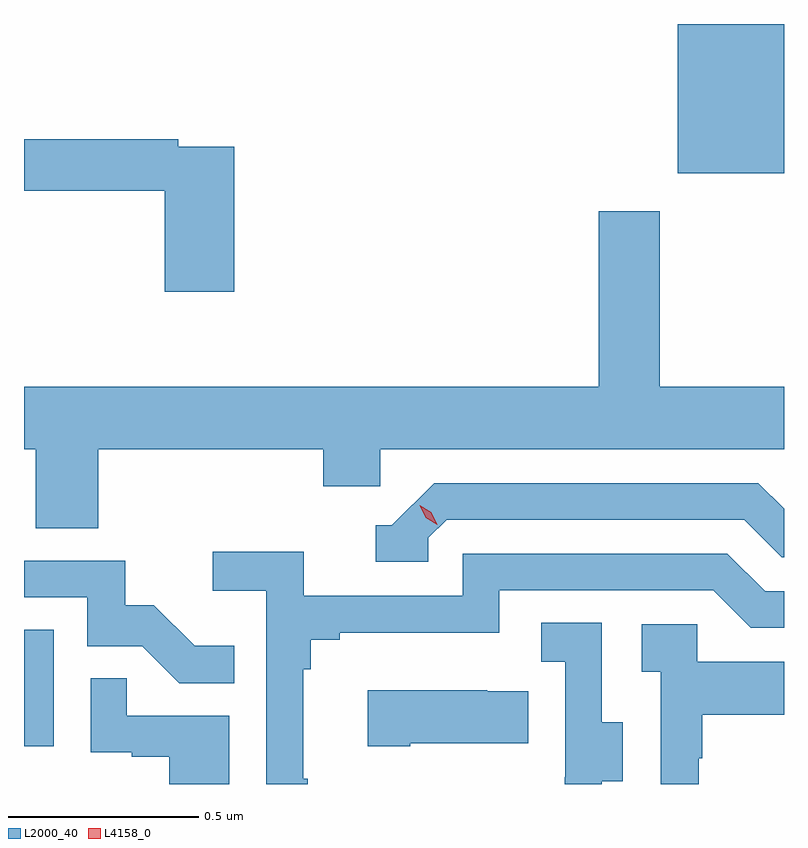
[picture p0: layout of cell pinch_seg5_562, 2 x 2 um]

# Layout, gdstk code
import gdstk
lib = gdstk.Library(unit=1e-6, precision=1e-09)
def R(c, l, rs):  # rectangles x0, y0, x1, y1
    for r in rs: c.add(gdstk.rectangle(r[:2], r[2:], *l))
def P(c, l, *ps):  # polygons
    for p in ps: c.add(gdstk.Polygon(p, *l))
L2000_40 = (2000, 40)
L4158_0 = (4158, 0)

pinch_seg5_562 = lib.new_cell('pinch_seg5_562')
R(pinch_seg5_562, L2000_40, [(1001.68,833.334,1001.758,833.641), (1003.4,834.842,1003.68,835.235)])
P(pinch_seg5_562, L2000_40, [(1002.233,834.912),(1002.086,834.912),(1002.086,834.932),(1001.68,834.932),(1001.68,834.796),(1002.05,834.796),(1002.05,834.531),(1002.233,834.531)],
  [(1001.68,834.116),(1001.711,834.116),(1001.711,833.908),(1001.876,833.908),(1001.876,834.116),(1002.467,834.116),(1002.467,834.018),(1002.618,834.018),(1002.618,834.116),(1003.68,834.116),(1003.68,834.28),(1003.353,834.28),(1003.353,834.742),(1003.193,834.742),(1003.193,834.28),(1001.68,834.28)],
  [(1002.744,833.883),(1002.792,833.931),(1003.575,833.931),(1003.674,833.832),(1003.68,833.832),(1003.68,833.959),(1003.612,834.027),(1002.759,834.027),(1002.648,833.916),(1002.605,833.916),(1002.605,833.82),(1002.744,833.82)],
  [(1002.427,833.249),(1002.415,833.249),(1002.415,833.537),(1002.434,833.537),(1002.434,833.614),(1002.511,833.614),(1002.511,833.633),(1002.93,833.633),(1002.93,833.745),(1003.494,833.745),(1003.593,833.646),(1003.68,833.646),(1003.68,833.742),(1003.63,833.742),(1003.531,833.841),(1002.834,833.841),(1002.834,833.73),(1002.416,833.73),(1002.416,833.846),(1002.177,833.846),(1002.177,833.744),(1002.318,833.744),(1002.318,833.235),(1002.427,833.235)],
  [(1002.233,833.599),(1002.129,833.599),(1002.022,833.706),(1001.946,833.706),(1001.946,833.823),(1001.68,833.823),(1001.68,833.727),(1001.847,833.727),(1001.847,833.598),(1001.991,833.598),(1002.089,833.5),(1002.233,833.5)],
  [(1003.201,833.242),(1003.255,833.242),(1003.255,833.397),(1003.2,833.397),(1003.2,833.66),(1003.041,833.66),(1003.041,833.557),(1003.104,833.557),(1003.104,833.253),(1003.103,833.253),(1003.103,833.235),(1003.201,833.235)],
  [(1003.455,833.303),(1003.465,833.303),(1003.465,833.417),(1003.68,833.417),(1003.68,833.557),(1003.452,833.557),(1003.452,833.655),(1003.305,833.655),(1003.305,833.531),(1003.356,833.531),(1003.356,833.235),(1003.455,833.235)],
  [(1002.22,833.415),(1001.951,833.415),(1001.951,833.513),(1001.856,833.513),(1001.856,833.319),(1001.963,833.319),(1001.963,833.307),(1002.062,833.307),(1002.062,833.235),(1002.22,833.235)],
  [(1002.697,833.342),(1003.007,833.342),(1003.007,833.479),(1002.899,833.479),(1002.899,833.482),(1002.585,833.482),(1002.585,833.335),(1002.697,833.335)])
P(pinch_seg5_562, L4158_0, [(1002.767,833.917),(1002.737,833.936),(1002.721,833.969),(1002.721,833.969),(1002.721,833.969),(1002.752,833.95),(1002.768,833.917),(1002.768,833.917)])

lib.write_gds('pinch_seg5_562.gds')
